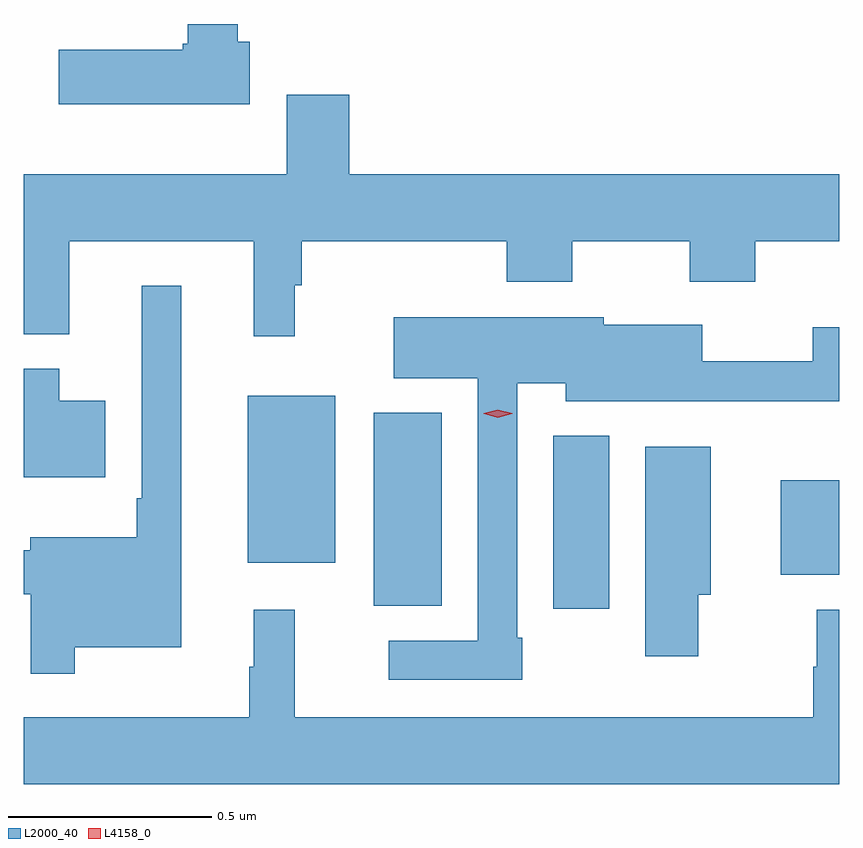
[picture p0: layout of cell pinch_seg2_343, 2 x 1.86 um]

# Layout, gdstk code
import gdstk
lib = gdstk.Library(unit=1e-6, precision=1e-09)
def R(c, l, rs):  # rectangles x0, y0, x1, y1
    for r in rs: c.add(gdstk.rectangle(r[:2], r[2:], *l))
def P(c, l, *ps):  # polygons
    for p in ps: c.add(gdstk.Polygon(p, *l))
L2000_40 = (2000, 40)
L4158_0 = (4158, 0)

pinch_seg2_343 = lib.new_cell('pinch_seg2_343')
R(pinch_seg2_343, L2000_40, [(1010.735,642.738,1010.872,643.162), (1010.294,642.745,1010.461,643.219), (1011.293,642.821,1011.436,643.054), (1009.985,642.851,1010.2,643.261)])
P(pinch_seg2_343, L2000_40, [(1009.99,644.13),(1009.96,644.13),(1009.96,644.173),(1009.838,644.173),(1009.838,644.124),(1009.825,644.124),(1009.825,644.11),(1009.521,644.11),(1009.521,643.976),(1009.99,643.976)],
  [(1010.1,643.532),(1010.117,643.532),(1010.117,643.64),(1010.621,643.64),(1010.621,643.541),(1010.781,643.541),(1010.781,643.64),(1011.07,643.64),(1011.07,643.541),(1011.23,643.541),(1011.23,643.64),(1011.436,643.64),(1011.436,643.804),(1010.234,643.804),(1010.234,643.999),(1010.081,643.999),(1010.081,643.804),(1009.436,643.804),(1009.436,643.412),(1009.547,643.412),(1009.547,643.64),(1010,643.64),(1010,643.407),(1010.1,643.407)],
  [(1009.561,642.644),(1009.822,642.644),(1009.822,643.531),(1009.725,643.531),(1009.725,643.009),(1009.713,643.009),(1009.713,642.913),(1009.451,642.913),(1009.451,642.882),(1009.436,642.882),(1009.436,642.774),(1009.452,642.774),(1009.452,642.579),(1009.561,642.579)],
  [(1010.659,642.667),(1010.646,642.667),(1010.646,643.292),(1010.765,643.292),(1010.765,643.247),(1011.436,643.247),(1011.436,643.429),(1011.371,643.429),(1011.371,643.346),(1011.1,643.346),(1011.1,643.435),(1010.859,643.435),(1010.859,643.453),(1010.343,643.453),(1010.343,643.304),(1010.55,643.304),(1010.55,642.66),(1010.331,642.66),(1010.331,642.564),(1010.659,642.564)],
  [(1009.636,643.249),(1009.522,643.249),(1009.522,643.327),(1009.436,643.327),(1009.436,643.061),(1009.636,643.061)],
  [(1011.09,642.773),(1011.121,642.773),(1011.121,643.135),(1010.96,643.135),(1010.96,642.621),(1011.09,642.621)],
  [(1011.436,642.736),(1011.381,642.736),(1011.381,642.596),(1011.373,642.596),(1011.373,642.472),(1010.1,642.472),(1010.1,642.736),(1010,642.736),(1010,642.596),(1009.989,642.596),(1009.989,642.472),(1009.436,642.472),(1009.436,642.308),(1011.436,642.308)])
P(pinch_seg2_343, L4158_0, [(1010.599,643.207),(1010.564,643.217),(1010.564,643.217),(1010.564,643.218),(1010.599,643.227),(1010.634,643.218),(1010.634,643.217),(1010.634,643.217)])

lib.write_gds('pinch_seg2_343.gds')
